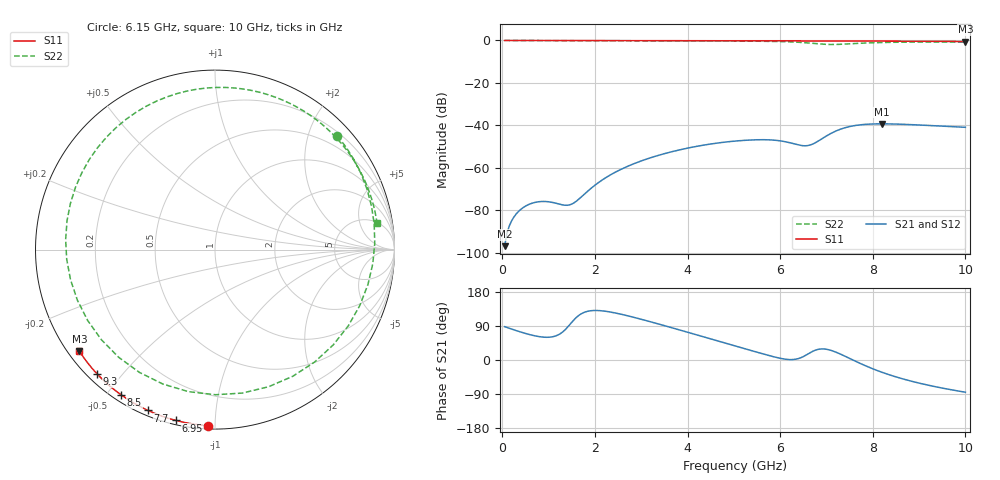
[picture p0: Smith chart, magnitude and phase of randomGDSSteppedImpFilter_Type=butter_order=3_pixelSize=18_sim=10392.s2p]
! freq	dB(S11)	phase(S11)	dB(S12)	phase(S12)
!  dB(S21)	phase(S21)	dB(S22)	phase(S22)
!S-par simulation data
#  GHz  S  DB  R 50
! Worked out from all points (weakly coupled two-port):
!   200 points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, 50 MHz to 10 GHz, reference 50 ohm
!   highest |S21| = -39.24 dB at 8.2 GHz (marker M1); lowest = -96.8 dB at 50 MHz (marker M2)
!   lowest |S11| = -0.5 dB at 10 GHz (marker M3), VSWR 34.36, Z = 1.62 - j16.6 ohm
!   |S11| at or under -10 dB: nowhere
!   |S22| runs from -1.9 to 0.0 dB; largest |S21 - S12| = 0
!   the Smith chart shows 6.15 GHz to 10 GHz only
!   S11 on the Smith chart (normalised r, x): 6.15 GHz: 0.02, -0.96; 6.95 GHz: 0.02, -0.80; 7.7 GHz: 0.02, -0.67; 8.5 GHz: 0.02, -0.54; 9.3 GHz: 0.03, -0.43; 10 GHz: 0.03, -0.33
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0.05  -0.00 -0.8  -96.81 88.0  -96.81 88.0  -0.00 -3.5
0.9  -0.02 -14.6  -75.76 60.2  -75.76 60.2  -0.07 -59.9
1.45  -0.03 -23.3  -77.39 92.4  -77.39 92.4  -0.10 -91.9
1.75  -0.04 -28.1  -72.78 124.8  -72.78 124.8  -0.11 -107.5
2.55  -0.05 -40.5  -60.79 121.2  -60.79 121.2  -0.14 -144.3
3.4  -0.07 -53.4  -53.88 94.2  -53.88 94.2  -0.16 -178.5
4.25  -0.09 -65.9  -49.62 64.5  -49.62 64.5  -0.20 148.3
5.05  -0.12 -77.2  -47.31 36.1  -47.31 36.1  -0.28 113.9
5.7  -0.14 -86.2  -46.72 13.8  -46.72 13.8  -0.40 78.2
6.15  -0.16 -92.3  -47.83 1.6  -47.83 1.6  -0.62 42.9
6.45  -0.18 -96.3  -49.40 6.2  -49.40 6.2  -0.93 9.1
6.7  -0.19 -99.6  -48.79 22.7  -48.79 22.7  -1.35 -29.7
6.95  -0.21 -102.9  -45.60 29.1  -45.60 29.1  -1.79 -79.2
7.1  -0.22 -104.8  -43.71 25.3  -43.71 25.3  -1.90 -111.2
7.3  -0.23 -107.4  -41.78 15.7  -41.78 15.7  -1.81 -150.9
7.5  -0.24 -110.0  -40.51 4.2  -40.51 4.2  -1.58 176.1
7.7  -0.26 -112.6  -39.78 -7.4  -39.78 -7.4  -1.34 149.9
8.2  -0.30 -119.0  -39.24 -32.5  -39.24 -32.5  -0.97 103.6
8.35  -0.31 -121.0  -39.27 -38.7  -39.27 -38.7  -0.90 92.9
8.5  -0.32 -122.9  -39.35 -44.5  -39.35 -44.5  -0.85 83.1
9.3  -0.40 -133.4  -40.10 -69.2  -40.10 -69.2  -0.73 39.9
10  -0.51 -143.2  -40.87 -85.0  -40.87 -85.0  -0.77 9.2
